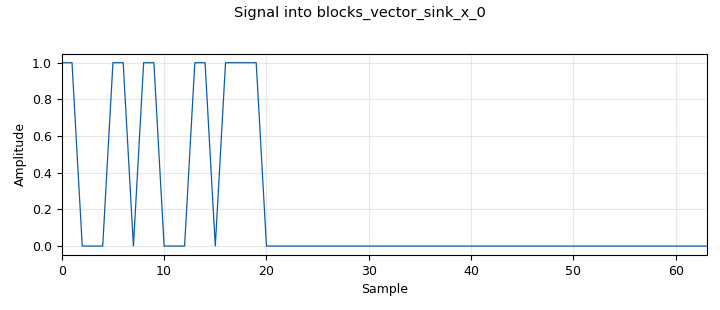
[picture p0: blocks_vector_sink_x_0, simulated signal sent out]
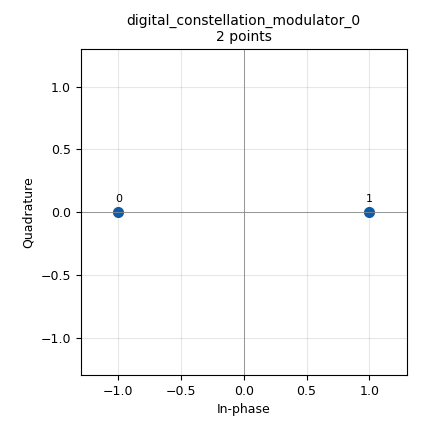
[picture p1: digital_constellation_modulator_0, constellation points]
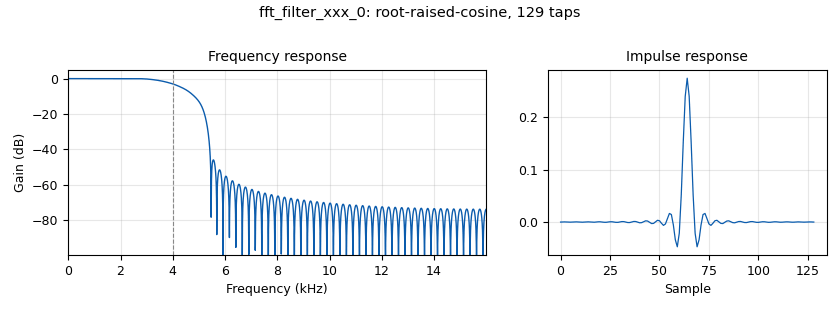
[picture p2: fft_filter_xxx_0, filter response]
options:
  parameters:
    author: mushab404
    description: 'PHY2 Stage 07: BPSK with Preamble and Access Code Frame Synchronization'
    generate_options: no_gui
    id: bpsk_preamble_access_code
    output_language: python
    run_options: run
    title: 'PHY2 Test 07: BPSK Preamble & Access Code'
  states: {}

blocks:
- name: access_code
  id: variable
  parameters:
    value: digital.packet_utils.default_access_code
  states: {}
- name: alpha
  id: variable
  parameters:
    value: '0.35'
  states: {}
- name: sps
  id: variable
  parameters:
    value: '4'
  states: {}
- name: samp_rate
  id: variable
  parameters:
    value: '32000'
  states: {}
- name: nfilts
  id: variable
  parameters:
    value: '32'
  states: {}
- name: fll_loop_bw
  id: variable
  parameters:
    value: 2 * 3.14159265 * 0.005
  states: {}
- name: costas_bw
  id: variable
  parameters:
    value: '0.0628'
  states: {}
- name: sym_bw
  id: variable
  parameters:
    value: '0.045'
  states: {}
- name: rcc_taps
  id: variable_rrc_filter_taps
  parameters:
    alpha: alpha
    gain: '1.0'
    ntaps: nfilts*sps
    samp_rate: samp_rate
    sym_rate: samp_rate/sps
  states: {}
- name: BPSK_CONST
  id: variable_constellation_rect
  parameters:
    const_points: '[-1+0j, 1+0j]'
    imag_sect: '2'
    real_sect: '2'
    rot_sym: '2'
    sym_map: '[0, 1]'
    w_imag_sect: '1'
    w_real_sect: '1'
  states: {}
- name: blocks_vector_source_x_0
  id: blocks_vector_source_x
  parameters:
    repeat: 'False'
    type: byte
    vector: '[0x55]*16 + [0xE1, 0x5A, 0xE8, 0x93] + [0x48, 0x65, 0x6C, 0x6C, 0x6F] + [0x00]*16'
  states: {}
- name: digital_constellation_modulator_0
  id: digital_constellation_modulator
  parameters:
    constellation: BPSK_CONST
    differential: 'False'
    excess_bw: alpha
    samples_per_symbol: sps
  states: {}
- name: channels_channel_model_0
  id: channels_channel_model
  parameters:
    epsilon: '1.0'
    frequency_offset: '0.01'
    noise_seed: '0'
    noise_voltage: '0.0'
    taps: '[1.0]'
  states: {}
- name: analog_agc_xx_0
  id: analog_agc_xx
  parameters:
    gain: '1.0'
    max_gain: '65536'
    rate: '1e-2'
    reference: '1.0'
    type: complex
  states: {}
- name: digital_fll_band_edge_cc_0
  id: digital_fll_band_edge_cc
  parameters:
    filter_size: 2*sps+1
    rolloff: alpha
    samps_per_sym: sps
    type: cc
    w: fll_loop_bw
  states: {}
- name: fft_filter_xxx_0
  id: fft_filter_xxx
  parameters:
    decim: '1'
    taps: rcc_taps
    type: ccc
  states: {}
- name: digital_symbol_sync_xx_0
  id: digital_symbol_sync_xx
  parameters:
    damping: '1.0'
    loop_bw: sym_bw
    max_dev: '1.5'
    osps: '1'
    resamp_type: digital.IR_MMSE_8TAP
    sps: sps
    ted_gain: '1.0'
    ted_type: digital.TED_MUELLER_AND_MULLER
    type: cc
  states: {}
- name: digital_costas_loop_cc_0
  id: digital_costas_loop_cc
  parameters:
    order: '2'
    w: costas_bw
  states: {}
- name: digital_constellation_decoder_cb_0
  id: digital_constellation_decoder_cb
  parameters:
    constellation: BPSK_CONST
  states: {}
- name: digital_correlate_access_code_tag_xx_0
  id: digital_correlate_access_code_tag_xx
  parameters:
    access_code: access_code
    tagname: payload_start
    threshold: '2'
    type: byte
  states: {}
- name: blocks_vector_sink_x_0
  id: blocks_vector_sink_x
  parameters:
    type: byte
  states: {}

connections:
- [blocks_vector_source_x_0, '0', digital_constellation_modulator_0, '0']
- [digital_constellation_modulator_0, '0', channels_channel_model_0, '0']
- [channels_channel_model_0, '0', analog_agc_xx_0, '0']
- [analog_agc_xx_0, '0', digital_fll_band_edge_cc_0, '0']
- [digital_fll_band_edge_cc_0, '0', fft_filter_xxx_0, '0']
- [fft_filter_xxx_0, '0', digital_symbol_sync_xx_0, '0']
- [digital_symbol_sync_xx_0, '0', digital_costas_loop_cc_0, '0']
- [digital_costas_loop_cc_0, '0', digital_constellation_decoder_cb_0, '0']
- [digital_constellation_decoder_cb_0, '0', digital_correlate_access_code_tag_xx_0, '0']
- [digital_correlate_access_code_tag_xx_0, '0', blocks_vector_sink_x_0, '0']

metadata:
  file_format: 1
  grc_version: 3.10.12.0
